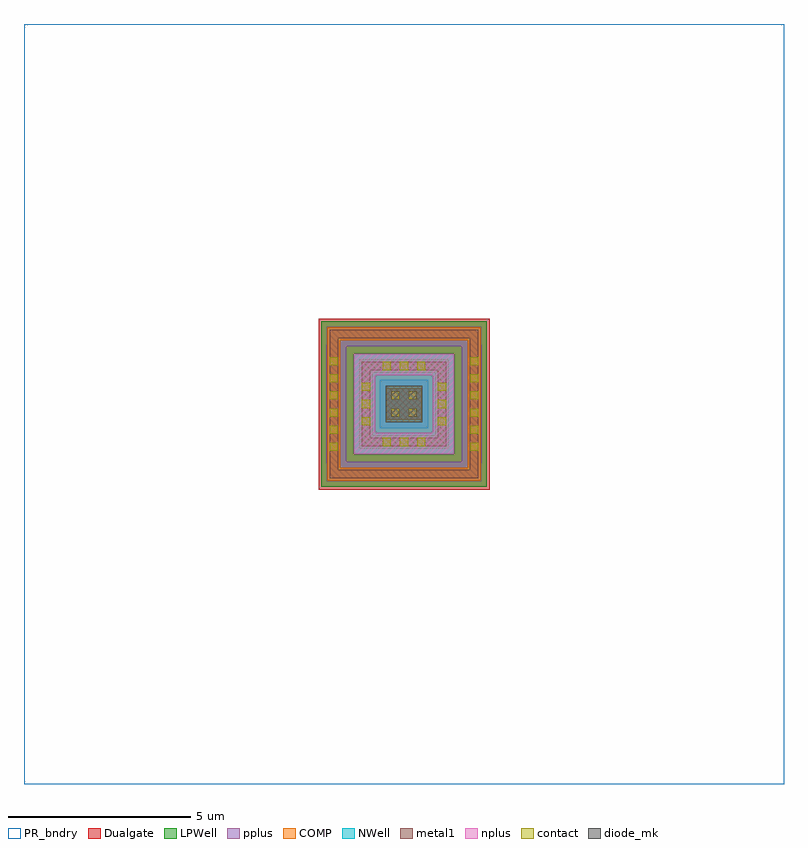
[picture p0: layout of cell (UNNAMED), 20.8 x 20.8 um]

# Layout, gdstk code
import gdstk
lib = gdstk.Library(unit=1e-6, precision=1e-09)
def R(c, l, rs):  # rectangles x0, y0, x1, y1
    for r in rs: c.add(gdstk.rectangle(r[:2], r[2:], *l))
def A(c, l, x, y, w, h, nx, ny, dx, dy):  # array of equal rectangles
    R(c, l, [(x+i*dx, y+j*dy, x+i*dx+w, y+j*dy+h) for i in range(nx) for j in range(ny)])
PR_bndry = (0, 0)
NWell = (21, 0)
COMP = (22, 0)
pplus = (31, 0)
nplus = (32, 0)
contact = (33, 0)
metal1 = (34, 0)
Dualgate = (55, 0)
diode_mk = (115, 5)
LPWell = (204, 0)

c__unnamed_ = lib.new_cell('(UNNAMED)')
R(c__unnamed_, PR_bndry, [(-10.4,-10.4,10.4,10.4)])
R(c__unnamed_, NWell, [(-1.38,-1.38,1.38,1.38)])
R(c__unnamed_, COMP, [(-2.1,-2.1,2.1,-1.74), (-2.1,-1.74,-1.74,1.74), (1.74,-1.74,2.1,1.74), (-1.22,-1.22,1.22,-0.86), (-1.22,-0.86,-0.86,0.86), (0.86,-0.86,1.22,0.86), (-0.5,-0.5,0.5,0.5), (-1.22,0.86,1.22,1.22), (-2.1,1.74,2.1,2.1)])
R(c__unnamed_, pplus, [(-2.12,-2.12,2.12,-1.615), (-2.13,-1.615,2.13,-1.58), (-2.13,-1.58,-1.58,1.58), (1.58,-1.58,2.13,1.58), (-0.66,-0.66,0.66,0.66), (-2.13,1.58,2.13,1.615), (-2.12,1.615,2.12,2.12)])
R(c__unnamed_, nplus, [(-1.38,-1.38,1.38,-0.79), (-1.38,-0.79,-0.79,0.79), (0.79,-0.79,1.38,0.79), (-1.38,0.79,1.38,1.38)])
A(c__unnamed_, contact, -2.03, -1.285, 0.22, 0.22, 1, 6, 0, 0.47)
A(c__unnamed_, contact, 1.81, -1.285, 0.22, 0.22, 1, 6, 0, 0.47)
A(c__unnamed_, contact, -0.58, -1.15, 0.22, 0.22, 3, 2, 0.47, 2.08)
A(c__unnamed_, contact, -1.15, -0.58, 0.22, 0.22, 1, 3, 0, 0.47)
A(c__unnamed_, contact, 0.93, -0.58, 0.22, 0.22, 1, 3, 0, 0.47)
R(c__unnamed_, contact, [(-0.345,-0.345,-0.125,-0.125), (0.125,-0.345,0.345,-0.125), (-0.345,0.125,-0.125,0.345), (0.125,0.125,0.345,0.345)])
R(c__unnamed_, metal1, [(-2.035,-2.035,2.035,-1.805), (-2.035,-1.805,-1.805,1.805), (1.805,-1.805,2.035,1.805), (-1.155,-1.155,1.155,-0.925), (-1.155,-0.925,-0.925,0.925), (0.925,-0.925,1.155,0.925), (-0.49,-0.435,0.49,0.435), (-1.155,0.925,1.155,1.155), (-2.035,1.805,2.035,2.035)])
R(c__unnamed_, Dualgate, [(-2.34,-2.34,2.34,2.34)])
R(c__unnamed_, diode_mk, [(-0.5,-0.5,0.5,0.5)])
R(c__unnamed_, LPWell, [(-2.26,-2.26,2.26,-1.38), (-2.26,-1.38,-1.38,1.38), (1.38,-1.38,2.26,1.38), (-2.26,1.38,2.26,2.26)])

lib.write_gds('_UNNAMED_.gds')
